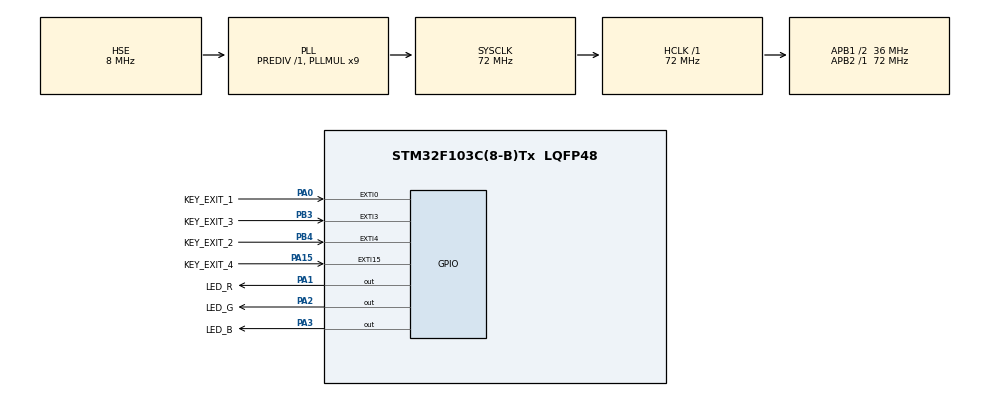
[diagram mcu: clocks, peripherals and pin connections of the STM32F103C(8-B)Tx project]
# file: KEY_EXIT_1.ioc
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Mcu.Family=STM32F1
Mcu.Name=STM32F103C(8-B)Tx
Mcu.Package=LQFP48
NVIC.EXTI0_IRQn=true\:1\:0\:true\:false\:true\:true\:true\:true
NVIC.EXTI15_10_IRQn=true\:0\:0\:false\:false\:true\:true\:true\:true
NVIC.EXTI3_IRQn=true\:2\:0\:true\:false\:true\:true\:true\:true
NVIC.EXTI4_IRQn=true\:3\:0\:true\:false\:true\:true\:true\:true
NVIC.PriorityGroup=NVIC_PRIORITYGROUP_4
PA0-WKUP.GPIO_Label=KEY_EXIT_1
PA0-WKUP.GPIO_PuPd=GPIO_PULLDOWN
PA0-WKUP.Signal=GPXTI0
PA1.GPIO_Label=LED_R
PA1.PinState=GPIO_PIN_SET
PA1.Signal=GPIO_Output
PA13.Mode=Serial_Wire
PA13.Signal=SYS_JTMS-SWDIO
PA14.Mode=Serial_Wire
PA14.Signal=SYS_JTCK-SWCLK
PA15.GPIO_Label=KEY_EXIT_4
PA15.GPIO_PuPd=GPIO_PULLDOWN
PA15.Signal=GPXTI15
PA2.GPIO_Label=LED_G
PA2.PinState=GPIO_PIN_SET
PA2.Signal=GPIO_Output
PA3.GPIO_Label=LED_B
PA3.PinState=GPIO_PIN_SET
PA3.Signal=GPIO_Output
PB3.GPIO_Label=KEY_EXIT_3
PB3.GPIO_PuPd=GPIO_PULLDOWN
PB3.Signal=GPXTI3
PB4.GPIO_Label=KEY_EXIT_2
PB4.Signal=GPXTI4
PC14-OSC32_IN.Mode=LSE-External-Oscillator
PC14-OSC32_IN.Signal=RCC_OSC32_IN
PC15-OSC32_OUT.Mode=LSE-External-Oscillator
PC15-OSC32_OUT.Signal=RCC_OSC32_OUT
PD0-OSC_IN.Mode=HSE-External-Oscillator
PD0-OSC_IN.Signal=RCC_OSC_IN
PD1-OSC_OUT.Mode=HSE-External-Oscillator
PD1-OSC_OUT.Signal=RCC_OSC_OUT
ProjectManager.HeapSize=0x200
ProjectManager.StackSize=0x400
ProjectManager.TargetToolchain=MDK-ARM V5.32
RCC.AHBFreq_Value=72000000
RCC.APB1CLKDivider=RCC_HCLK_DIV2
RCC.APB1Freq_Value=36000000
RCC.APB1TimFreq_Value=72000000
RCC.APB2Freq_Value=72000000
RCC.APB2TimFreq_Value=72000000
RCC.HCLKFreq_Value=72000000
RCC.PLLMUL=RCC_PLL_MUL9
RCC.PLLSourceVirtual=RCC_PLLSOURCE_HSE
RCC.SYSCLKFreq_VALUE=72000000
RCC.SYSCLKSource=RCC_SYSCLKSOURCE_PLLCLK
RCC.USBFreq_Value=72000000
board=custom

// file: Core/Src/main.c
/* USER CODE BEGIN Header */
/**
  ******************************************************************************
  * @file           : main.c
  * @brief          : Main program body
  ******************************************************************************
  * @attention
  *
  * Copyright (c) 2025 STMicroelectronics.
  * All rights reserved.
  *
  * This software is licensed under terms that can be found in the LICENSE file
  * in the root directory of this software component.
  * If no LICENSE file comes with this software, it is provided AS-IS.
  *
  ******************************************************************************
  */
/* USER CODE END Header */
#include "main.h"
#include "gpio.h"

void SystemClock_Config(void);

int main(void)
{

  /* MCU Configuration--------------------------------------------------------*/

  /* Reset of all peripherals, Initializes the Flash interface and the Systick. */
  HAL_Init();

  /* Configure the system clock */
  SystemClock_Config();

  /* Initialize all configured peripherals */
  MX_GPIO_Init();

  /* Infinite loop */
  while (1)
  {

  }
}

void SystemClock_Config(void)
{
  RCC_OscInitTypeDef RCC_OscInitStruct = {0};
  RCC_ClkInitTypeDef RCC_ClkInitStruct = {0};

  /** Initializes the RCC Oscillators according to the specified parameters
  * in the RCC_OscInitTypeDef structure.
  */
  RCC_OscInitStruct.OscillatorType = RCC_OSCILLATORTYPE_HSE;
  RCC_OscInitStruct.HSEState = RCC_HSE_ON;
  RCC_OscInitStruct.HSEPredivValue = RCC_HSE_PREDIV_DIV1;
  RCC_OscInitStruct.HSIState = RCC_HSI_ON;
  RCC_OscInitStruct.PLL.PLLState = RCC_PLL_ON;
  RCC_OscInitStruct.PLL.PLLSource = RCC_PLLSOURCE_HSE;
  RCC_OscInitStruct.PLL.PLLMUL = RCC_PLL_MUL9;
  if (HAL_RCC_OscConfig(&RCC_OscInitStruct) != HAL_OK)
  {
    Error_Handler();
  }

  /** Initializes the CPU, AHB and APB buses clocks
  */
  RCC_ClkInitStruct.ClockType = RCC_CLOCKTYPE_HCLK|RCC_CLOCKTYPE_SYSCLK
                              |RCC_CLOCKTYPE_PCLK1|RCC_CLOCKTYPE_PCLK2;
  RCC_ClkInitStruct.SYSCLKSource = RCC_SYSCLKSOURCE_PLLCLK;
  RCC_ClkInitStruct.AHBCLKDivider = RCC_SYSCLK_DIV1;
  RCC_ClkInitStruct.APB1CLKDivider = RCC_HCLK_DIV2;
  RCC_ClkInitStruct.APB2CLKDivider = RCC_HCLK_DIV1;

  if (HAL_RCC_ClockConfig(&RCC_ClkInitStruct, FLASH_LATENCY_2) != HAL_OK)
  {
    Error_Handler();
  }
}

/* USER CODE BEGIN 4 */
void HAL_GPIO_EXTI_Callback(uint16_t GPIO_Pin)
{
	if(GPIO_Pin == KEY_EXIT_4_Pin){
		HAL_GPIO_TogglePin(GPIOA,LED_R_Pin|LED_G_Pin|LED_B_Pin);
	}
	if(GPIO_Pin == KEY_EXIT_2_Pin){
			HAL_GPIO_WritePin(GPIOA,LED_R_Pin|LED_G_Pin|LED_B_Pin,GPIO_PIN_RESET);
			HAL_Delay(500);
			HAL_GPIO_WritePin(GPIOA,LED_R_Pin|LED_G_Pin|LED_B_Pin,GPIO_PIN_SET);
			HAL_Delay(500);
	}
	if(GPIO_Pin == KEY_EXIT_3_Pin){
		HAL_GPIO_WritePin(GPIOA,LED_R_Pin,GPIO_PIN_RESET);
		HAL_Delay(500);
		HAL_GPIO_WritePin(GPIOA,LED_R_Pin,GPIO_PIN_SET);
		HAL_GPIO_WritePin(GPIOA,LED_G_Pin,GPIO_PIN_RESET);
		HAL_Delay(500);
		HAL_GPIO_WritePin(GPIOA,LED_G_Pin,GPIO_PIN_SET);
		HAL_GPIO_WritePin(GPIOA,LED_B_Pin,GPIO_PIN_RESET);
		HAL_Delay(500);
		HAL_GPIO_WritePin(GPIOA,LED_B_Pin,GPIO_PIN_SET);

	}
	if(GPIO_Pin == KEY_EXIT_1_Pin){
		HAL_GPIO_WritePin(GPIOA,LED_B_Pin|LED_G_Pin|LED_R_Pin,GPIO_PIN_SET);
		static uint16_t count = 0;
		count++;
		if(count == 1){
			HAL_GPIO_WritePin(GPIOA,LED_R_Pin,GPIO_PIN_RESET);}
		else if(count == 2){
			HAL_GPIO_WritePin(GPIOA,LED_G_Pin,GPIO_PIN_RESET);}
		else if(count == 3){
			HAL_GPIO_WritePin(GPIOA,LED_B_Pin,GPIO_PIN_RESET);}
		else if(count >= 4){
			count = 0;}

		}

}

/* USER CODE END 4 */

void Error_Handler(void)
{
  __disable_irq();
  while (1)
  {
  }
}
